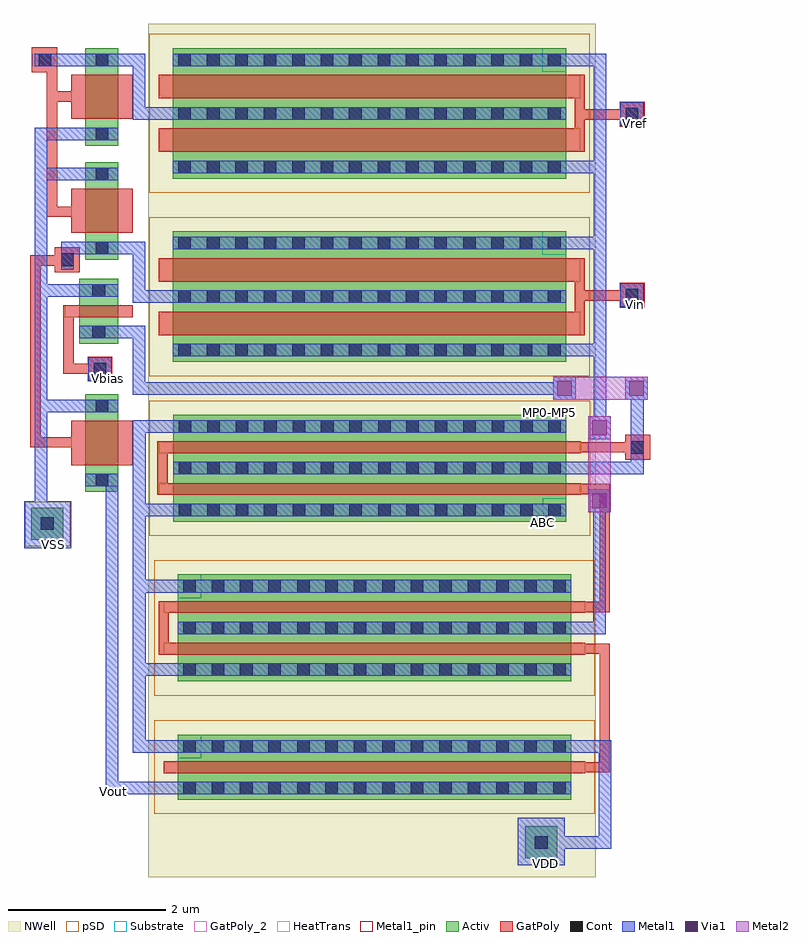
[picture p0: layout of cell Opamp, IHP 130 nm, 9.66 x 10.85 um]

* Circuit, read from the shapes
.subckt Opamp VDD VSS Vbias Vin Vout Vref
XM1 VSS Vbias n1 VSS sg13_lv_nmos w=0.5u l=0.15u
XM2 VSS n2 Vout VSS sg13_lv_nmos w=0.42u l=0.56u
XM3 VSS n3 n2 VSS sg13_lv_nmos w=0.42u l=0.56u
XM4 n3 n3 VSS VSS sg13_lv_nmos w=0.42u l=0.56u
XM5 n2 Vin n4 VDD sg13_lv_pmos w=5u l=0.3u m=2
XM6 n3 Vref n4 VDD sg13_lv_pmos w=5u l=0.3u m=2
XM7 n1 n1 VDD VDD sg13_lv_pmos w=5u l=0.15u m=2
XM8 VDD n1 Vout VDD sg13_lv_pmos w=5u l=0.15u
XM9 n4 n1 VDD VDD sg13_lv_pmos w=5u l=0.15u m=2
.ends

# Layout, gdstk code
from math import pi, radians
import gdstk
lib = gdstk.Library(unit=1e-6, precision=1e-09)
def R(c, l, rs):  # rectangles x0, y0, x1, y1
    for r in rs: c.add(gdstk.rectangle(r[:2], r[2:], *l))
def A(c, l, x, y, w, h, nx, ny, dx, dy):  # array of equal rectangles
    R(c, l, [(x+i*dx, y+j*dy, x+i*dx+w, y+j*dy+h) for i in range(nx) for j in range(ny)])
def P(c, l, *ps):  # polygons
    for p in ps: c.add(gdstk.Polygon(p, *l))
Activ = (1, 0)
GatPoly = (5, 0)
GatPoly_2 = (5, 2)
Cont = (6, 0)
Metal1 = (8, 0)
Metal1_pin = (8, 2)
Metal2 = (10, 0)
pSD = (14, 0)
Via1 = (19, 0)
NWell = (31, 0)
Substrate = (40, 0)
HeatTrans = (51, 0)

pmos = lib.new_cell('pmos')
R(pmos, Activ, [(0,0,0.3,0.3), (0,0,0.83,5), (0.53,0,0.83,0.3)])
R(pmos, GatPoly, [(0.34,-0.18,0.49,5.18), (0.34,-0.18,0.49,5.18)])
A(pmos, Cont, 0.07, 0.07, 0.16, 0.16, 1, 4, 0, 0.36)
A(pmos, Cont, 0.6, 0.07, 0.16, 0.16, 1, 4, 0, 0.36)
A(pmos, Cont, 0.07, 1.515, 0.16, 0.16, 1, 3, 0, 0.36)
A(pmos, Cont, 0.6, 1.515, 0.16, 0.16, 1, 3, 0, 0.36)
A(pmos, Cont, 0.07, 2.6, 0.16, 0.16, 1, 3, 0, 0.36)
A(pmos, Cont, 0.6, 2.6, 0.16, 0.16, 1, 3, 0, 0.36)
A(pmos, Cont, 0.07, 3.685, 0.16, 0.16, 1, 3, 0, 0.36)
A(pmos, Cont, 0.6, 3.685, 0.16, 0.16, 1, 3, 0, 0.36)
R(pmos, Cont, [(0.07,4.77,0.23,4.93), (0.6,4.77,0.76,4.93)])
R(pmos, Metal1, [(0.07,0,0.23,5), (0.07,0,0.23,5), (0.6,0,0.76,5), (0.6,0,0.76,5)])
R(pmos, pSD, [(-0.18,-0.3,1.01,5.3)])
R(pmos, NWell, [(-0.31,-0.31,1.14,5.31)])
R(pmos, Substrate, [(0.53,0,0.83,0.3)])
R(pmos, HeatTrans, [(0.34,-0.18,0.49,5.18)])
pmos.add(gdstk.Label('pmos', (0.415,2.5), layer=63, texttype=0))
pmos.add(gdstk.Label('pmos', (0.415,2.5), layer=51, texttype=0))

pmos_5 = lib.new_cell('pmos$5')
A(pmos_5, Activ, 0, 0, 0.3, 0.3, 3, 1, 0.53, 0)
R(pmos_5, Activ, [(0,0,1.36,5)])
R(pmos_5, GatPoly, [(0.34,-0.18,0.49,5.18), (0.34,-0.18,0.49,5.18), (0.87,-0.18,1.02,5.18)])
A(pmos_5, Cont, 0.07, 0.07, 0.16, 0.16, 3, 4, 0.53, 0.36)
A(pmos_5, Cont, 0.07, 1.515, 0.16, 0.16, 3, 3, 0.53, 0.36)
A(pmos_5, Cont, 0.07, 2.6, 0.16, 0.16, 3, 3, 0.53, 0.36)
A(pmos_5, Cont, 0.07, 3.685, 0.16, 0.16, 3, 3, 0.53, 0.36)
A(pmos_5, Cont, 0.07, 4.77, 0.16, 0.16, 3, 1, 0.53, 0)
R(pmos_5, Metal1, [(0.07,0,0.23,5), (0.07,0,0.23,5), (0.6,0,0.76,5), (0.6,0,0.76,5), (1.13,0,1.29,5)])
R(pmos_5, pSD, [(-0.18,-0.3,1.54,5.3)])
R(pmos_5, NWell, [(-0.31,-0.31,1.67,5.31)])
R(pmos_5, Substrate, [(1.06,0,1.36,0.3)])
R(pmos_5, HeatTrans, [(0.34,-0.18,0.49,5.18), (0.87,-0.18,1.02,5.18)])
pmos_5.add(gdstk.Label('pmos', (0.415,2.5), layer=63, texttype=0))
pmos_5.add(gdstk.Label('pmos', (0.415,2.5), layer=51, texttype=0))
pmos_5.add(gdstk.Label('pmos', (0.945,2.5), layer=51, texttype=0))

pmos_2 = lib.new_cell('pmos$2')
A(pmos_2, Activ, 0, 0, 0.3, 0.3, 3, 1, 0.68, 0)
R(pmos_2, Activ, [(0,0,1.66,5)])
R(pmos_2, GatPoly, [(0.34,-0.18,0.64,5.18), (0.34,-0.18,0.64,5.18), (1.02,-0.18,1.32,5.18)])
A(pmos_2, Cont, 0.07, 0.07, 0.16, 0.16, 3, 4, 0.68, 0.36)
A(pmos_2, Cont, 0.07, 1.515, 0.16, 0.16, 3, 3, 0.68, 0.36)
A(pmos_2, Cont, 0.07, 2.6, 0.16, 0.16, 3, 3, 0.68, 0.36)
A(pmos_2, Cont, 0.07, 3.685, 0.16, 0.16, 3, 3, 0.68, 0.36)
A(pmos_2, Cont, 0.07, 4.77, 0.16, 0.16, 3, 1, 0.68, 0)
R(pmos_2, Metal1, [(0.07,0,0.23,5), (0.07,0,0.23,5), (0.75,0,0.91,5), (0.75,0,0.91,5), (1.43,0,1.59,5)])
R(pmos_2, pSD, [(-0.18,-0.3,1.84,5.3)])
R(pmos_2, NWell, [(-0.31,-0.31,1.97,5.31)])
R(pmos_2, Substrate, [(1.36,0,1.66,0.3)])
R(pmos_2, HeatTrans, [(0.34,-0.18,0.64,5.18), (1.02,-0.18,1.32,5.18)])
pmos_2.add(gdstk.Label('pmos', (0.49,2.5), layer=63, texttype=0))
pmos_2.add(gdstk.Label('pmos', (0.49,2.5), layer=51, texttype=0))
pmos_2.add(gdstk.Label('pmos', (1.17,2.5), layer=51, texttype=0))

via_stack = lib.new_cell('via_stack')
R(via_stack, Metal1, [(-0.145,-0.145,0.145,0.145)])
R(via_stack, Metal2, [(-0.145,-0.145,0.145,0.145)])
R(via_stack, Via1, [(-0.095,-0.095,0.095,0.095)])

nmos_1 = lib.new_cell('nmos$1')
R(nmos_1, Activ, [(0,0,0.3,0.3), (0,0,1.24,0.42), (0.94,0,1.24,0.3)])
R(nmos_1, GatPoly, [(0.34,-0.18,0.9,0.6)])
R(nmos_1, GatPoly_2, [(0.34,-0.18,0.9,0.6)])
R(nmos_1, Cont, [(0.07,0.13,0.23,0.29), (1.01,0.13,1.17,0.29)])
R(nmos_1, Metal1, [(0.07,0,0.23,0.42), (1.01,0,1.17,0.42)])
R(nmos_1, Metal1_pin, [(0.07,0,0.23,0.42), (1.01,0,1.17,0.42)])
R(nmos_1, HeatTrans, [(0.34,-0.18,0.9,0.6)])
nmos_1.add(gdstk.Label('nmos', (0.62,0.21), layer=63, texttype=0))
nmos_1.add(gdstk.Label('nmos', (0.62,0.21), layer=51, texttype=0))

nmos_2 = lib.new_cell('nmos$2')
R(nmos_2, Activ, [(0,0,0.3,0.3), (0,0,0.83,0.5), (0.53,0,0.83,0.3)])
R(nmos_2, GatPoly, [(0.34,-0.18,0.49,0.68)])
R(nmos_2, GatPoly_2, [(0.34,-0.18,0.49,0.68)])
R(nmos_2, Cont, [(0.07,0.17,0.23,0.33), (0.6,0.17,0.76,0.33)])
R(nmos_2, Metal1, [(0.07,0,0.23,0.5), (0.6,0,0.76,0.5)])
R(nmos_2, Metal1_pin, [(0.07,0,0.23,0.5), (0.6,0,0.76,0.5)])
R(nmos_2, HeatTrans, [(0.34,-0.18,0.49,0.68)])
nmos_2.add(gdstk.Label('nmos', (0.415,0.25), layer=63, texttype=0))
nmos_2.add(gdstk.Label('nmos', (0.415,0.25), layer=51, texttype=0))

opamp = lib.new_cell('Opamp')
R(opamp, Activ, [(-25.18,26.51,-24.77,26.92), (-31.46,30.56,-31.05,30.97)])
R(opamp, GatPoly, [(-29.855,31.13,-29.725,31.81), (-23.91,31.575,-23.59,31.895)])
P(opamp, GatPoly, [(-24.55,33.16),(-24.55,34.14),(-24.42,34.14),(-24.42,33.73),(-23.98,33.73),(-23.98,33.83),(-23.66,33.83),(-23.66,33.51),(-23.98,33.51),(-23.98,33.6),(-24.42,33.6),(-24.42,33.16)],
  [(-24.55,35.49),(-24.55,36.47),(-24.42,36.47),(-24.42,36.03),(-23.98,36.03),(-23.98,36.13),(-23.66,36.13),(-23.66,35.81),(-23.98,35.81),(-23.98,35.9),(-24.42,35.9),(-24.42,35.49)],
  [(-31.47,31.735),(-31.47,34.175),(-31.16,34.175),(-31.16,34.28),(-30.84,34.28),(-30.84,33.96),(-31.16,33.96),(-31.16,34.045),(-31.34,34.045),(-31.34,31.865),(-30.865,31.865),(-30.865,31.735)],
  [(-24.645,29.64),(-24.645,29.77),(-24.235,29.77),(-24.235,31.14),(-24.765,31.14),(-24.765,31.27),(-24.105,31.27),(-24.105,29.64)],
  [(-24.485,27.605),(-24.485,27.735),(-24.235,27.735),(-24.235,29.11),(-24.45,29.11),(-24.45,29.24),(-24.105,29.24),(-24.105,27.605)],
  [(-30.74,32.575),(-30.74,32.67),(-31.05,32.67),(-31.05,33.54),(-30.92,33.54),(-30.92,32.8),(-30.74,32.8),(-30.74,32.885),(-30.43,32.885),(-30.43,32.575)],
  [(-31.26,34.665),(-31.26,36.5),(-31.45,36.5),(-31.45,36.82),(-31.13,36.82),(-31.13,36.26),(-30.9,36.26),(-30.9,36.13),(-31.13,36.13),(-31.13,34.795),(-30.88,34.795),(-30.88,34.665)])
R(opamp, Cont, [(-25.055,26.635,-24.895,26.795), (-31.335,30.685,-31.175,30.845), (-23.835,31.655,-23.675,31.815), (-30.665,32.65,-30.505,32.81), (-23.9,33.59,-23.74,33.75), (-31.075,34.04,-30.915,34.2), (-31.075,34.04,-30.915,34.2), (-23.9,35.89,-23.74,36.05), (-31.365,36.58,-31.205,36.74)])
R(opamp, Metal1, [(-24.69,31.39,-24.515,31.55), (-24.31,31.975,-24.15,33.005), (-30.735,32.58,-30.435,32.88), (-23.97,33.52,-23.67,33.82), (-23.97,35.82,-23.67,36.12), (-31.415,36.58,-30.75,36.74), (-24.66,36.58,-24.23,36.74)])
P(opamp, Metal1, [(-25.275,26.425),(-25.275,27.025),(-24.675,27.025),(-24.675,26.795),(-24.245,26.795),(-24.245,27.855),(-24.625,27.855),(-24.625,28.015),(-24.085,28.015),(-24.085,26.635),(-24.675,26.635),(-24.675,26.425)],
  [(-31.55,30.45),(-31.55,31.05),(-31.415,31.05),(-31.415,35.8),(-30.745,35.8),(-30.745,35.64),(-31.255,35.64),(-31.255,35.29),(-30.75,35.29),(-30.75,35.13),(-31.255,35.13),(-31.255,33.81),(-30.79,33.81),(-30.79,33.65),(-31.255,33.65),(-31.255,32.34),(-30.705,32.34),(-30.705,32.18),(-31.255,32.18),(-31.255,31.05),(-30.95,31.05),(-30.95,30.45)],
  [(-31.075,33.99),(-31.075,34.35),(-30.745,34.35),(-30.745,34.19),(-30.915,34.19),(-30.915,33.99)],
  [(-30.17,32.405),(-30.17,33.12),(-30.42,33.12),(-30.42,33.28),(-30.01,33.28),(-30.01,32.565),(-24.675,32.565),(-24.675,32.405)],
  [(-30.51,27.325),(-30.51,31.37),(-30.35,31.37),(-30.35,27.485),(-29.415,27.485),(-29.415,27.325)],
  [(-30.165,27.855),(-30.165,32.08),(-29.645,32.08),(-29.645,31.92),(-30.005,31.92),(-30.005,31.02),(-29.645,31.02),(-29.645,30.86),(-30.005,30.86),(-30.005,30.05),(-29.585,30.05),(-29.585,29.89),(-30.005,29.89),(-30.005,28.99),(-29.58,28.99),(-29.58,28.83),(-30.005,28.83),(-30.005,28.015),(-29.545,28.015),(-29.545,27.855)],
  [(-24.605,29.36),(-24.605,29.52),(-24.315,29.52),(-24.315,31.15),(-24.155,31.15),(-24.155,29.36)],
  [(-24.69,32.89),(-24.69,33.05),(-24.31,33.05),(-24.31,34.25),(-24.66,34.25),(-24.66,34.41),(-24.31,34.41),(-24.31,35.22),(-24.15,35.22),(-24.15,32.89)],
  [(-30.17,35.9),(-30.17,36.58),(-30.66,36.58),(-30.66,36.74),(-30.01,36.74),(-30.01,36.06),(-29.64,36.06),(-29.64,35.9)],
  [(-30.17,33.57),(-30.17,34.19),(-30.565,34.19),(-30.565,34.35),(-30.01,34.35),(-30.01,33.73),(-29.505,33.73),(-29.505,33.57)],
  [(-24.545,31.39),(-24.545,31.55),(-23.835,31.55),(-23.835,32.575),(-23.675,32.575),(-23.675,31.39)],
  [(-24.69,35.22),(-24.69,35.38),(-24.31,35.38),(-24.31,36.74),(-24.15,36.74),(-24.15,35.22)],
  [(-21.89,33.68),(-21.89,33.68),(-21.89,33.68),(-21.89,33.68)])
R(opamp, Metal2, [(-24.38,31.185,-24.09,31.935), (-24.545,32.34,-23.91,32.63)])
R(opamp, pSD, [(-31.535,30.475,-30.965,31.045)])
R(opamp, NWell, [(-29.97,26.27,-24.285,37.12)])
opamp.add(gdstk.FlexPath([(-29.775,29.78),(-29.775,29.1)], 0.13, ends="flush", simple_path=True, layer=5, datatype=0))  # GatPoly
opamp.add(gdstk.FlexPath([(-24.505,31.735),(-23.735,31.735)], 0.13, ends="flush", simple_path=True, layer=5, datatype=0))  # GatPoly
opamp.add(gdstk.Reference(pmos, (-29.595,27.255), rotation=pi/2, x_reflection=True))
opamp.add(gdstk.Reference(pmos_5, (-29.595,28.76), rotation=pi/2, x_reflection=True))
opamp.add(gdstk.Reference(pmos_2, (-24.66,35.15), rotation=pi/2))
opamp.add(gdstk.Reference(pmos_5, (-24.655,32.15), rotation=3*pi/2, x_reflection=True))
opamp.add(gdstk.Reference(pmos_2, (-24.66,32.82), rotation=pi/2))
opamp.add(gdstk.Reference(via_stack, (-24.235,31.985)))
opamp.add(gdstk.Reference(via_stack, (-24.235,31.055)))
opamp.add(gdstk.Reference(via_stack, (-24.68,32.485), rotation=pi/2))
opamp.add(gdstk.Reference(via_stack, (-23.765,32.485), rotation=pi/2))
opamp.add(gdstk.Reference(nmos_1, (-30.77,35.36), rotation=3*pi/2))
opamp.add(gdstk.Reference(nmos_1, (-30.77,36.81), rotation=3*pi/2))
opamp.add(gdstk.Reference(nmos_1, (-30.77,32.41), rotation=3*pi/2))
opamp.add(gdstk.Reference(nmos_2, (-30.85,33.88), rotation=3*pi/2))
opamp.add(gdstk.Label('MP0-MP5', (-24.87,32.18), layer=63, texttype=0))
opamp.add(gdstk.Label('ABC', (-24.965,30.775), layer=63, texttype=0))
opamp.add(gdstk.Label('VDD', (-24.925,26.45), layer=8, texttype=25))
opamp.add(gdstk.Label('VSS', (-31.175,30.495), layer=8, texttype=25))
opamp.add(gdstk.Label('Vout', (-30.41,27.36), layer=8, texttype=25))
opamp.add(gdstk.Label('Vref', (-23.785,35.845), layer=8, texttype=25))
opamp.add(gdstk.Label('Vin', (-23.775,33.555), layer=8, texttype=25))
opamp.add(gdstk.Label('Vbias', (-30.485,32.605), layer=8, texttype=25))

lib.write_gds('Opamp.gds')
